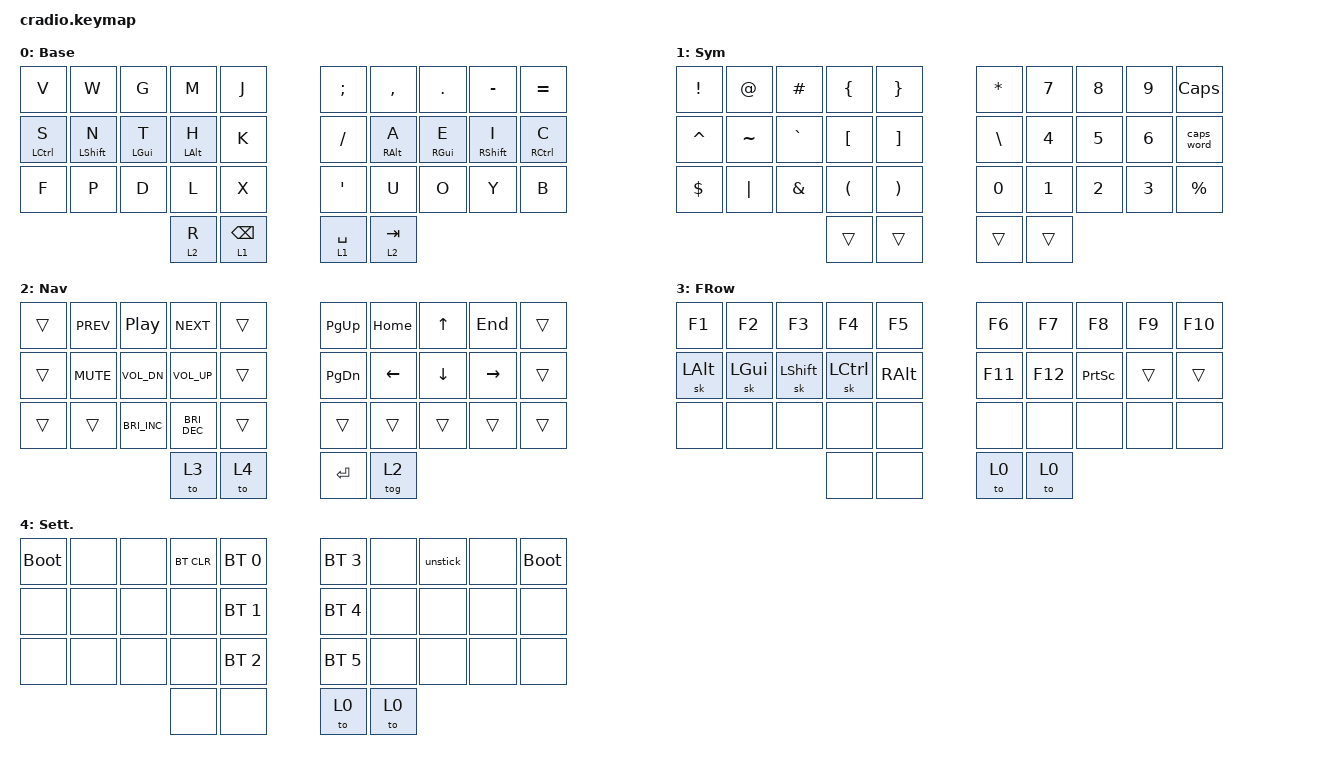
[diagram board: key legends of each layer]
#include <behaviors.dtsi>
#include <dt-bindings/zmk/keys.h>
#include <dt-bindings/zmk/bt.h>
#include <dt-bindings/zmk/outputs.h>


// Layer definitions
#define BASE 0
#define SYM 1
#define EXT 2
#define FNC 3
#define SYM2 4
#define ACCENT 5
#define SETTINGS 6
// -----------------

&sk {
	// don't release mods on other mods presses
	ignore-modifiers;
};


/ {
	behaviors {
		// Enables holding the first mod-tap key
		// by performing a tap-release-hold sequence.
		// To use it: "&qt KEYCODE1 KEYCODE2"
		qt: quick_tap {
			compatible = "zmk,behavior-hold-tap";
			label = "QUICK_TAP";
			#binding-cells = <2>;
			flavor = "hold-preferred";
			tapping-term-ms = <200>;
			quick-tap-ms = <200>;
			bindings = <&kp>, <&kp>;
		};
			rpi: require_prior_idle {
    compatible = "zmk,behavior-hold-tap";
    #binding-cells = <2>;
    flavor = "tap-preferred";
    tapping-term-ms = <200>;
    require-prior-idle-ms = <100>;
    bindings = <&kp>, <&kp>;
	};

	};

	macros {
		// sometimes my device thinks a modifier is being held down
		// pressing all modifiers fixes it.
		unstick: unstick {
			label = "ZM_unstick";
			compatible = "zmk,behavior-macro";
			#binding-cells = <0>;
			bindings = <&kp LSHIFT &kp RSHIFT &kp LCTRL &kp RCTRL &kp LALT &kp RALT &kp LGUI &kp RGUI>;
		};

	qu: qu {
		  label = "qu";
			compatible = "zmk,behavior-macro";
			#binding-cells = <0>;
			bindings = <&kp Q &kp U>;
		};
	psql: psql {
		  label = "psql";
			compatible = "zmk,behavior-macro";
			#binding-cells = <0>;
			bindings = <&kp P &kp S &kp Q &kp L>;
		};
	};

	combos {
		compatible = "zmk,combos";

		// internal-left & external-right thumb keys
		combo_sym2 {
			timeout-ms = <200>;
			key-positions = <31 33>;
			bindings = <&mo SYM2>;
		};
		// lx
		 combo_esc {
            timeout-ms = <50>;
            key-positions = <23 24>;
            bindings = <&kp ESC>;
        };
		// 'u
		 combo_enter {
            timeout-ms = <50>;
            key-positions = <25 26>;
            bindings = <&kp ENTER>;
        };
		 combo_q {
            timeout-ms = <50>;
            key-positions = <2 3>;
            bindings = <&kp Q>;
        };
		 combo_qu {
            timeout-ms = <50>;
            key-positions = <1 2>;
            bindings = <&qu>;
        };
		 combo_z {
            timeout-ms = <50>;
            key-positions = <21 22>;
            bindings = <&kp Z>;
        };
		combo_psql {
            timeout-ms = <50>;
            key-positions = <22 23>;
            bindings = <&psql>;
        };
		// both left thumb keys
		combo_settings {
			timeout-ms = <200>;
			key-positions = <30 31>;
			bindings = <&mo SETTINGS>;
		};
	};

	keymap {
		compatible = "zmk,keymap";
		// Base alpha layer
		default_layer {
			label = "Base";
			bindings = <
			&kp V         &kp W          &kp G        &kp M            &kp J    	&kp SEMICOLON  &kp COMMA          &kp PERIOD   &kp MINUS      &kp EQUAL
      &rpi LCTRL S  &rpi LSHIFT N  &rpi LGUI T  &rpi LEFT_ALT H  &kp K	    &kp SLASH      &rpi RIGHT_ALT A   &rpi RGUI E  &rpi RSHIFT I  &rpi RCTRL C
      &kp F         &kp P          &kp D        &kp L            &kp X      &kp SQT        &kp U              &kp O        &kp Y          &kp B
									 		 						 &lt 2 R      &lt 1 BSPC       &lt 1 SPACE  &lt 2 TAB
			>;
		};


		// Numbers and high frequency symbols
		sym_layer {
			label = "Sym";
			bindings = <
      &kp EXCL  &kp AT    &kp HASH  &kp LBRC &kp RBRC    &kp ASTERISK  &kp N7 &kp N8 &kp N9 &kp CAPS
      &kp CARET &kp TILDE &kp GRAVE &kp LBKT &kp RBKT    &kp BSLH   &kp N4 &kp N5 &kp N6 &caps_word
      &kp DOLLAR  &kp PIPE  &kp AMPS  &kp LPAR &kp RPAR    &kp N0 &kp N1 &kp N2 &kp N3 &kp PERCENT
                                       &trans  &trans       &trans &trans
			>;
		};

		// Nav and medium controls
		nav_layer {
			label = "Nav";
			bindings = <
			&trans &kp C_PREV  &kp C_PP      &kp C_NEXT   &trans    	&kp PG_UP  &kp HOME  &kp UP &kp END &trans
		  &trans &kp C_MUTE  &kp C_VOL_DN  &kp C_VOL_UP &trans 		    &kp PG_DN  &kp LEFT  &kp DOWN  &kp RIGHT &trans
			&trans &trans &kp C_BRI_INC &kp C_BRI_DEC &trans       	&trans &trans &trans &trans &trans
																		&to 3 &to 4    &kp ENTER  &tog 2
			>;
		};

		// Function keys with modifiers
		fnc_layer {
			label = "FRow";
			bindings = <
			&kp F1 &kp F2 &kp F3 &kp F4 &kp F5                  &kp F6 &kp F7 &kp F8 &kp F9 &kp F10
			&sk LALT &sk LGUI &sk LSHIFT &sk LCTRL &kp RALT     &kp F11 &kp F12  &kp PRINTSCREEN &trans &trans
			&none &none &none &none &none				          &none &none &none &none &none
							  &none &none              &to 0 &to 0
			>;
		};

		// Used to change the keyboard's settings.
		settings_layer {
				label = "Sett.";
				bindings = <
				&bootloader &none &none &bt BT_CLR &bt BT_SEL 0               &bt BT_SEL 3 &none &unstick &none &bootloader
				&none &none &none &none      &bt BT_SEL 1 						  &bt BT_SEL 4 &none &none &none &none
				&none &none &none &none      &bt BT_SEL 2               &bt BT_SEL 5 &none &none &none &none
										&none &none                         &to 0 &to 0
				>;
		};
};

};
